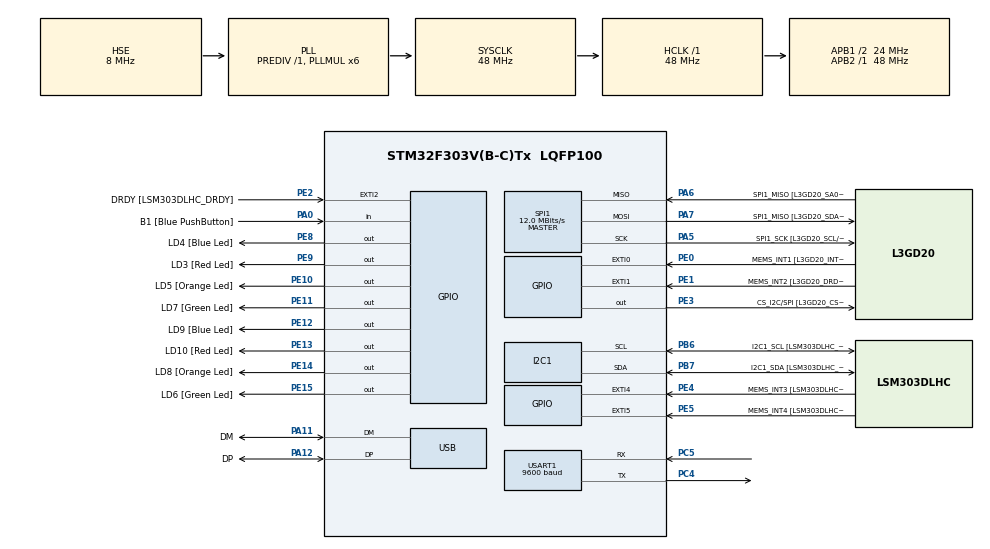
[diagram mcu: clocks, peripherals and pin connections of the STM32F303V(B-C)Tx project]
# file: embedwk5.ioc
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I2C1.Timing-I2C=0x2000090E
Mcu.Family=STM32F3
Mcu.Name=STM32F303V(B-C)Tx
Mcu.Package=LQFP100
NVIC.PriorityGroup=NVIC_PRIORITYGROUP_0
NVIC.TIM1_BRK_TIM15_IRQn=true\:0\:0\:false\:false\:true\:true\:true\:true
NVIC.TIM1_CC_IRQn=true\:0\:0\:false\:false\:true\:true\:true\:true
NVIC.TIM1_TRG_COM_TIM17_IRQn=true\:0\:0\:false\:false\:true\:true\:true\:true
NVIC.TIM1_UP_TIM16_IRQn=true\:0\:0\:false\:false\:true\:true\:true\:true
NVIC.USART1_IRQn=true\:0\:0\:false\:false\:true\:true\:true\:true
PA0.GPIO_Label=B1 [Blue PushButton]
PA0.Signal=GPIO_Input
PA11.GPIO_Label=DM
PA11.Mode=Device
PA11.Signal=USB_DM
PA12.GPIO_Label=DP
PA12.Mode=Device
PA12.Signal=USB_DP
PA13.GPIO_Label=SWDIO
PA13.Mode=Serial_Wire
PA13.Signal=SYS_JTMS-SWDIO
PA14.GPIO_Label=SWCLK
PA14.Mode=Serial_Wire
PA14.Signal=SYS_JTCK-SWCLK
PA5.GPIO_Label=SPI1_SCK [L3GD20_SCL/SPC]
PA5.Mode=Full_Duplex_Master
PA5.Signal=SPI1_SCK
PA6.GPIO_Label=SPI1_MISO [L3GD20_SA0/SDO]
PA6.Mode=Full_Duplex_Master
PA6.Signal=SPI1_MISO
PA7.GPIO_Label=SPI1_MISO [L3GD20_SDA/SDI/SDO]
PA7.Mode=Full_Duplex_Master
PA7.Signal=SPI1_MOSI
PB3.GPIO_Label=SWO
PB3.Signal=SYS_JTDO-TRACESWO
PB6.GPIO_Label=I2C1_SCL [LSM303DLHC_SCL]
PB6.GPIO_Pu=GPIO_PULLUP
PB6.Mode=I2C
PB6.Signal=I2C1_SCL
PB7.GPIO_Label=I2C1_SDA [LSM303DLHC_SDA]
PB7.GPIO_Pu=GPIO_PULLUP
PB7.Mode=I2C
PB7.Signal=I2C1_SDA
PC14-OSC32_IN.GPIO_Label=OSC32_IN
PC14-OSC32_IN.Signal=RCC_OSC32_IN
PC15-OSC32_OUT.GPIO_Label=OSC32_OUT
PC15-OSC32_OUT.Signal=RCC_OSC32_OUT
PC4.Mode=Asynchronous
PC4.Signal=USART1_TX
PC5.Mode=Asynchronous
PC5.Signal=USART1_RX
PE0.GPIO_Label=MEMS_INT1 [L3GD20_INT1]
PE0.GPIO_ModeDefaultEXTI=GPIO_MODE_EVT_RISING
PE0.Signal=GPXTI0
PE1.GPIO_Label=MEMS_INT2 [L3GD20_DRDY/INT2]
PE1.GPIO_ModeDefaultEXTI=GPIO_MODE_EVT_RISING
PE1.Signal=GPXTI1
PE10.GPIO_Label=LD5 [Orange Led]
PE10.Signal=GPIO_Output
PE11.GPIO_Label=LD7 [Green Led]
PE11.Signal=GPIO_Output
PE12.GPIO_Label=LD9 [Blue Led]
PE12.Signal=GPIO_Output
PE13.GPIO_Label=LD10 [Red Led]
PE13.Signal=GPIO_Output
PE14.GPIO_Label=LD8 [Orange Led]
PE14.Signal=GPIO_Output
PE15.GPIO_Label=LD6 [Green Led]
PE15.Signal=GPIO_Output
PE2.GPIO_Label=DRDY [LSM303DLHC_DRDY]
PE2.GPIO_ModeDefaultEXTI=GPIO_MODE_EVT_RISING
PE2.Signal=GPXTI2
PE3.GPIO_Label=CS_I2C/SPI [L3GD20_CS_I2C/SPI]
PE3.Signal=GPIO_Output
PE4.GPIO_Label=MEMS_INT3 [LSM303DLHC_INT1]
PE4.GPIO_ModeDefaultEXTI=GPIO_MODE_EVT_RISING
PE4.Signal=GPXTI4
PE5.GPIO_Label=MEMS_INT4 [LSM303DLHC_INT2]
PE5.GPIO_ModeDefaultEXTI=GPIO_MODE_EVT_RISING
PE5.Signal=GPXTI5
PE8.GPIO_Label=LD4 [Blue Led]
PE8.Signal=GPIO_Output
PE9.GPIO_Label=LD3 [Red Led]
PE9.Signal=GPIO_Output
PF0-OSC_IN.GPIO_Label=OSC_IN
PF0-OSC_IN.Mode=HSE-External-Clock-Source
PF0-OSC_IN.Signal=RCC_OSC_IN
PF1-OSC_OUT.GPIO_Label=OSC_OUT
PF1-OSC_OUT.Signal=RCC_OSC_OUT
ProjectManager.HeapSize=0x200
ProjectManager.StackSize=0x400
ProjectManager.TargetToolchain=STM32CubeIDE
RCC.AHBFreq_Value=48000000
RCC.APB1CLKDivider=RCC_HCLK_DIV2
RCC.APB1Freq_Value=24000000
RCC.APB1TimFreq_Value=48000000
RCC.APB2Freq_Value=48000000
RCC.APB2TimFreq_Value=48000000
RCC.CortexFreq_Value=48000000
RCC.HCLKFreq_Value=48000000
RCC.HSE_VALUE=8000000
RCC.HSI_VALUE=8000000
RCC.LSE_VALUE=32768
RCC.PLLMUL=RCC_PLL_MUL6
RCC.SYSCLKFreq_VALUE=48000000
RCC.SYSCLKSourceVirtual=RCC_SYSCLKSOURCE_PLLCLK
RCC.USBFreq_Value=48000000
SPI1.BaudRatePrescaler=SPI_BAUDRATEPRESCALER_4
SPI1.BaudRatePrescaler-Full_Duplex_Master=SPI_BAUDRATEPRESCALER_2
SPI1.CalculateBaudRate=12.0 MBits/s
SPI1.CalculateBaudRate-Full_Duplex_Master=24.0 MBits/s
SPI1.Direction=SPI_DIRECTION_2LINES
SPI1.Mode=SPI_MODE_MASTER
SPI1.Mode-Full_Duplex_Master=SPI_MODE_MASTER
SPI1.VirtualType=VM_MASTER
TIM1.Period=1000
TIM1.Prescaler=48000
USART1.BaudRate=9600
USART1.VirtualMode-Asynchronous=VM_ASYNC
VP_TIM1_VS_ClockSourceINT.Mode=Internal
board=STM32F3DISCOVERY

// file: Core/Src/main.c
/* USER CODE BEGIN Header */
/**
  ******************************************************************************
  * @file           : main.c
  * @brief          : Main program body
  ******************************************************************************
  * @attention
  *
  * Copyright (c) 2023 STMicroelectronics.
  * All rights reserved.
  *
  * This software is licensed under terms that can be found in the LICENSE file
  * in the root directory of this software component.
  * If no LICENSE file comes with this software, it is provided AS-IS.
  *
  ******************************************************************************
  */
/* USER CODE END Header */
#include "main.h"

/* USER CODE BEGIN Includes */
#include "console.h"
#include "ledControl.h"
#include "projectCommands.h"
#include <stdio.h>
/* USER CODE END Includes */

I2C_HandleTypeDef hi2c1;

SPI_HandleTypeDef hspi1;

TIM_HandleTypeDef htim1;

UART_HandleTypeDef huart1;

PCD_HandleTypeDef hpcd_USB_FS;

/* USER CODE BEGIN PV */
uint8_t recvd_uart_data; // receive buffer

/* USER CODE END PV */

void SystemClock_Config(void);
static void MX_GPIO_Init(void);
static void MX_I2C1_Init(void);
static void MX_SPI1_Init(void);
static void MX_USB_PCD_Init(void);
static void MX_USART1_UART_Init(void);
static void MX_TIM1_Init(void);
/* USER CODE BEGIN PFP */
#ifdef __GNUC__
#define PUTCHAR_PROTOTYPE int  __io_putchar(int ch)
#else
#define PUTCHAR_PROTOTYPE int fputc(int ch, FILE *f)
#endif

PUTCHAR_PROTOTYPE
{
	HAL_UART_Transmit(&huart1, (uint8_t *)&ch, 1, HAL_MAX_DELAY);
	return ch;
}

int _read(int file, char *result, size_t len) {
    HAL_StatusTypeDef status;
    int retcode = 0;

    if (len != 0) {
        status = HAL_UART_Receive( &huart1, (uint8_t *) result, len, HAL_MAX_DELAY);

        if (status == HAL_OK) {
            retcode = len;
        } else {
            retcode = -1;
        }
    }
    return( retcode);
}
/* USER CODE END PFP */

int main(void)
{

  /* MCU Configuration--------------------------------------------------------*/

  /* Reset of all peripherals, Initializes the Flash interface and the Systick. */
  HAL_Init();

  /* Configure the system clock */
  SystemClock_Config();

  /* Initialize all configured peripherals */
  MX_GPIO_Init();
  MX_I2C1_Init();
  MX_SPI1_Init();
  MX_USB_PCD_Init();
  MX_USART1_UART_Init();
  MX_TIM1_Init();
  /* USER CODE BEGIN 2 */
  ConsoleInit(ConsoleCommandsGetTable());
  HAL_UART_Receive_IT(&huart1, &recvd_uart_data, 1);
  HAL_TIM_Base_Start_IT(&htim1);

  /* USER CODE END 2 */

  /* Infinite loop */
  while (1)
  {

    /* USER CODE BEGIN 3 */
	ConsoleProcess();
  }
  /* USER CODE END 3 */
}

void SystemClock_Config(void)
{
  RCC_OscInitTypeDef RCC_OscInitStruct = {0};
  RCC_ClkInitTypeDef RCC_ClkInitStruct = {0};
  RCC_PeriphCLKInitTypeDef PeriphClkInit = {0};

  /** Initializes the RCC Oscillators according to the specified parameters
  * in the RCC_OscInitTypeDef structure.
  */
  RCC_OscInitStruct.OscillatorType = RCC_OSCILLATORTYPE_HSI|RCC_OSCILLATORTYPE_HSE;
  RCC_OscInitStruct.HSEState = RCC_HSE_BYPASS;
  RCC_OscInitStruct.HSEPredivValue = RCC_HSE_PREDIV_DIV1;
  RCC_OscInitStruct.HSIState = RCC_HSI_ON;
  RCC_OscInitStruct.HSICalibrationValue = RCC_HSICALIBRATION_DEFAULT;
  RCC_OscInitStruct.PLL.PLLState = RCC_PLL_ON;
  RCC_OscInitStruct.PLL.PLLSource = RCC_PLLSOURCE_HSE;
  RCC_OscInitStruct.PLL.PLLMUL = RCC_PLL_MUL6;
  if (HAL_RCC_OscConfig(&RCC_OscInitStruct) != HAL_OK)
  {
    Error_Handler();
  }

  /** Initializes the CPU, AHB and APB buses clocks
  */
  RCC_ClkInitStruct.ClockType = RCC_CLOCKTYPE_HCLK|RCC_CLOCKTYPE_SYSCLK
                              |RCC_CLOCKTYPE_PCLK1|RCC_CLOCKTYPE_PCLK2;
  RCC_ClkInitStruct.SYSCLKSource = RCC_SYSCLKSOURCE_PLLCLK;
  RCC_ClkInitStruct.AHBCLKDivider = RCC_SYSCLK_DIV1;
  RCC_ClkInitStruct.APB1CLKDivider = RCC_HCLK_DIV2;
  RCC_ClkInitStruct.APB2CLKDivider = RCC_HCLK_DIV1;

  if (HAL_RCC_ClockConfig(&RCC_ClkInitStruct, FLASH_LATENCY_1) != HAL_OK)
  {
    Error_Handler();
  }
  PeriphClkInit.PeriphClockSelection = RCC_PERIPHCLK_USB|RCC_PERIPHCLK_USART1
                              |RCC_PERIPHCLK_I2C1|RCC_PERIPHCLK_TIM1;
  PeriphClkInit.Usart1ClockSelection = RCC_USART1CLKSOURCE_PCLK2;
  PeriphClkInit.I2c1ClockSelection = RCC_I2C1CLKSOURCE_HSI;
  PeriphClkInit.USBClockSelection = RCC_USBCLKSOURCE_PLL;
  PeriphClkInit.Tim1ClockSelection = RCC_TIM1CLK_HCLK;
  if (HAL_RCCEx_PeriphCLKConfig(&PeriphClkInit) != HAL_OK)
  {
    Error_Handler();
  }
}

static void MX_I2C1_Init(void)
{

  hi2c1.Instance = I2C1;
  hi2c1.Init.Timing = 0x2000090E;
  hi2c1.Init.OwnAddress1 = 0;
  hi2c1.Init.AddressingMode = I2C_ADDRESSINGMODE_7BIT;
  hi2c1.Init.DualAddressMode = I2C_DUALADDRESS_DISABLE;
  hi2c1.Init.OwnAddress2 = 0;
  hi2c1.Init.OwnAddress2Masks = I2C_OA2_NOMASK;
  hi2c1.Init.GeneralCallMode = I2C_GENERALCALL_DISABLE;
  hi2c1.Init.NoStretchMode = I2C_NOSTRETCH_DISABLE;
  if (HAL_I2C_Init(&hi2c1) != HAL_OK)
  {
    Error_Handler();
  }

  /** Configure Analogue filter
  */
  if (HAL_I2CEx_ConfigAnalogFilter(&hi2c1, I2C_ANALOGFILTER_ENABLE) != HAL_OK)
  {
    Error_Handler();
  }

  /** Configure Digital filter
  */
  if (HAL_I2CEx_ConfigDigitalFilter(&hi2c1, 0) != HAL_OK)
  {
    Error_Handler();
  }

}

static void MX_SPI1_Init(void)
{

  /* SPI1 parameter configuration*/
  hspi1.Instance = SPI1;
  hspi1.Init.Mode = SPI_MODE_MASTER;
  hspi1.Init.Direction = SPI_DIRECTION_2LINES;
  hspi1.Init.DataSize = SPI_DATASIZE_4BIT;
  hspi1.Init.CLKPolarity = SPI_POLARITY_LOW;
  hspi1.Init.CLKPhase = SPI_PHASE_1EDGE;
  hspi1.Init.NSS = SPI_NSS_SOFT;
  hspi1.Init.BaudRatePrescaler = SPI_BAUDRATEPRESCALER_4;
  hspi1.Init.FirstBit = SPI_FIRSTBIT_MSB;
  hspi1.Init.TIMode = SPI_TIMODE_DISABLE;
  hspi1.Init.CRCCalculation = SPI_CRCCALCULATION_DISABLE;
  hspi1.Init.CRCPolynomial = 7;
  hspi1.Init.CRCLength = SPI_CRC_LENGTH_DATASIZE;
  hspi1.Init.NSSPMode = SPI_NSS_PULSE_ENABLE;
  if (HAL_SPI_Init(&hspi1) != HAL_OK)
  {
    Error_Handler();
  }

}

static void MX_TIM1_Init(void)
{

  TIM_ClockConfigTypeDef sClockSourceConfig = {0};
  TIM_MasterConfigTypeDef sMasterConfig = {0};

  htim1.Instance = TIM1;
  htim1.Init.Prescaler = 48000;
  htim1.Init.CounterMode = TIM_COUNTERMODE_UP;
  htim1.Init.Period = 1000;
  htim1.Init.ClockDivision = TIM_CLOCKDIVISION_DIV1;
  htim1.Init.RepetitionCounter = 0;
  htim1.Init.AutoReloadPreload = TIM_AUTORELOAD_PRELOAD_DISABLE;
  if (HAL_TIM_Base_Init(&htim1) != HAL_OK)
  {
    Error_Handler();
  }
  sClockSourceConfig.ClockSource = TIM_CLOCKSOURCE_INTERNAL;
  if (HAL_TIM_ConfigClockSource(&htim1, &sClockSourceConfig) != HAL_OK)
  {
    Error_Handler();
  }
  sMasterConfig.MasterOutputTrigger = TIM_TRGO_RESET;
  sMasterConfig.MasterOutputTrigger2 = TIM_TRGO2_RESET;
  sMasterConfig.MasterSlaveMode = TIM_MASTERSLAVEMODE_DISABLE;
  if (HAL_TIMEx_MasterConfigSynchronization(&htim1, &sMasterConfig) != HAL_OK)
  {
    Error_Handler();
  }

}

static void MX_USART1_UART_Init(void)
{

  huart1.Instance = USART1;
  huart1.Init.BaudRate = 9600;
  huart1.Init.WordLength = UART_WORDLENGTH_8B;
  huart1.Init.StopBits = UART_STOPBITS_1;
  huart1.Init.Parity = UART_PARITY_NONE;
  huart1.Init.Mode = UART_MODE_TX_RX;
  huart1.Init.HwFlowCtl = UART_HWCONTROL_NONE;
  huart1.Init.OverSampling = UART_OVERSAMPLING_16;
  huart1.Init.OneBitSampling = UART_ONE_BIT_SAMPLE_DISABLE;
  huart1.AdvancedInit.AdvFeatureInit = UART_ADVFEATURE_NO_INIT;
  if (HAL_UART_Init(&huart1) != HAL_OK)
  {
    Error_Handler();
  }

}

static void MX_USB_PCD_Init(void)
{

  hpcd_USB_FS.Instance = USB;
  hpcd_USB_FS.Init.dev_endpoints = 8;
  hpcd_USB_FS.Init.speed = PCD_SPEED_FULL;
  hpcd_USB_FS.Init.phy_itface = PCD_PHY_EMBEDDED;
  hpcd_USB_FS.Init.low_power_enable = DISABLE;
  hpcd_USB_FS.Init.battery_charging_enable = DISABLE;
  if (HAL_PCD_Init(&hpcd_USB_FS) != HAL_OK)
  {
    Error_Handler();
  }

}

static void MX_GPIO_Init(void)
{
  GPIO_InitTypeDef GPIO_InitStruct = {0};

  /* GPIO Ports Clock Enable */
  __HAL_RCC_GPIOE_CLK_ENABLE();
  __HAL_RCC_GPIOC_CLK_ENABLE();
  __HAL_RCC_GPIOF_CLK_ENABLE();
  __HAL_RCC_GPIOA_CLK_ENABLE();
  __HAL_RCC_GPIOB_CLK_ENABLE();

  /*Configure GPIO pin Output Level */
  HAL_GPIO_WritePin(GPIOE, CS_I2C_SPI_Pin|LD4_Pin|LD3_Pin|LD5_Pin
                          |LD7_Pin|LD9_Pin|LD10_Pin|LD8_Pin
                          |LD6_Pin, GPIO_PIN_RESET);

  /*Configure GPIO pins : DRDY_Pin MEMS_INT3_Pin MEMS_INT4_Pin MEMS_INT1_Pin
                           MEMS_INT2_Pin */
  GPIO_InitStruct.Pin = DRDY_Pin|MEMS_INT3_Pin|MEMS_INT4_Pin|MEMS_INT1_Pin
                          |MEMS_INT2_Pin;
  GPIO_InitStruct.Mode = GPIO_MODE_EVT_RISING;
  GPIO_InitStruct.Pull = GPIO_NOPULL;
  HAL_GPIO_Init(GPIOE, &GPIO_InitStruct);

  /*Configure GPIO pins : CS_I2C_SPI_Pin LD4_Pin LD3_Pin LD5_Pin
                           LD7_Pin LD9_Pin LD10_Pin LD8_Pin
                           LD6_Pin */
  GPIO_InitStruct.Pin = CS_I2C_SPI_Pin|LD4_Pin|LD3_Pin|LD5_Pin
                          |LD7_Pin|LD9_Pin|LD10_Pin|LD8_Pin
                          |LD6_Pin;
  GPIO_InitStruct.Mode = GPIO_MODE_OUTPUT_PP;
  GPIO_InitStruct.Pull = GPIO_NOPULL;
  GPIO_InitStruct.Speed = GPIO_SPEED_FREQ_LOW;
  HAL_GPIO_Init(GPIOE, &GPIO_InitStruct);

  /*Configure GPIO pin : B1_Pin */
  GPIO_InitStruct.Pin = B1_Pin;
  GPIO_InitStruct.Mode = GPIO_MODE_INPUT;
  GPIO_InitStruct.Pull = GPIO_NOPULL;
  HAL_GPIO_Init(B1_GPIO_Port, &GPIO_InitStruct);

}

/* USER CODE BEGIN 4 */
void HAL_UART_RxCpltCallback(UART_HandleTypeDef *huart)
{
  ConsoleHandleInputInterrupt(recvd_uart_data);

  HAL_UART_Receive_IT(&huart1, &recvd_uart_data, 1);
}

void HAL_TIM_PeriodElapsedCallback(TIM_HandleTypeDef *htim) {
	// Check which version of the timer triggered this callback and toggle LED
	if (htim == &htim1) {
		for (int i = 0; i < MAX_LED_INDEX; ++i) {
			if (isLEDBlinking(i)) {
				blinkLED(i);
			}
		}
	}
}

/* USER CODE END 4 */

void Error_Handler(void)
{
  __disable_irq();
  while (1)
  {
  }
}
